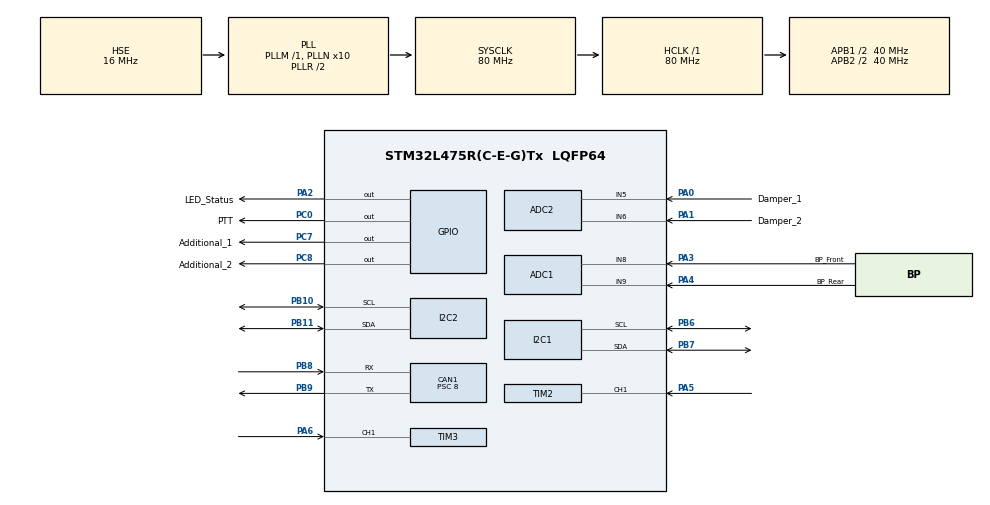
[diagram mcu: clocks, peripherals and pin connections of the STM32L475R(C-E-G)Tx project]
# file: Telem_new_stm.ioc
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ADC1.Channel-0\#ChannelRegularConversion=ADC_CHANNEL_8
ADC1.Channel-1\#ChannelRegularConversion=ADC_CHANNEL_9
ADC1.NbrOfConversion=2
ADC1.NbrOfConversionFlag=1
ADC1.OffsetNumber-0\#ChannelRegularConversion=ADC_OFFSET_NONE
ADC1.OffsetNumber-1\#ChannelRegularConversion=ADC_OFFSET_NONE
ADC1.Rank-0\#ChannelRegularConversion=1
ADC1.Rank-1\#ChannelRegularConversion=2
ADC1.SamplingTime-0\#ChannelRegularConversion=ADC_SAMPLETIME_2CYCLES_5
ADC1.SamplingTime-1\#ChannelRegularConversion=ADC_SAMPLETIME_2CYCLES_5
ADC1.master=1
ADC2.Channel-0\#ChannelRegularConversion=ADC_CHANNEL_5
ADC2.NbrOfConversionFlag=1
ADC2.OffsetNumber-0\#ChannelRegularConversion=ADC_OFFSET_NONE
ADC2.Rank-0\#ChannelRegularConversion=1
ADC2.SamplingTime-0\#ChannelRegularConversion=ADC_SAMPLETIME_2CYCLES_5
CAN1.BS1=CAN_BS1_3TQ
CAN1.CalculateBaudRate=1000000
CAN1.CalculateTimeBit=1000
CAN1.CalculateTimeQuantum=200.0
CAN1.Prescaler=8
I2C1.Timing=0x00909BEB
I2C2.Timing=0x00909BEB
Mcu.Family=STM32L4
Mcu.Name=STM32L475R(C-E-G)Tx
Mcu.Package=LQFP64
NVIC.CAN1_RX0_IRQn=true\:0\:0\:false\:false\:true\:true\:true\:true
NVIC.PriorityGroup=NVIC_PRIORITYGROUP_4
NVIC.TIM2_IRQn=true\:0\:0\:false\:false\:true\:true\:true\:true
NVIC.TIM3_IRQn=true\:0\:0\:false\:false\:true\:true\:true\:true
PA0.GPIO_Label=Damper_1
PA0.Signal=ADCx_IN5
PA1.GPIO_Label=Damper_2
PA1.Signal=ADCx_IN6
PA2.GPIO_Label=LED_Status
PA2.Signal=GPIO_Output
PA3.GPIO_Label=BP_Front
PA3.Signal=ADCx_IN8
PA4.GPIO_Label=BP_Rear
PA4.Signal=ADCx_IN9
PA5.GPIO_PuPd=GPIO_PULLDOWN
PA5.GPIO_Speed=GPIO_SPEED_FREQ_HIGH
PA5.Signal=S_TIM2_CH1
PA6.GPIO_PuPd=GPIO_PULLDOWN
PA6.GPIO_Speed=GPIO_SPEED_FREQ_HIGH
PA6.Signal=S_TIM3_CH1
PB10.Mode=I2C
PB10.Signal=I2C2_SCL
PB11.Mode=I2C
PB11.Signal=I2C2_SDA
PB6.Mode=I2C
PB6.Signal=I2C1_SCL
PB7.Mode=I2C
PB7.Signal=I2C1_SDA
PB8.Mode=CAN_Activate
PB8.Signal=CAN1_RX
PB9.Mode=CAN_Activate
PB9.Signal=CAN1_TX
PC0.GPIO_Label=PTT
PC0.Signal=GPIO_Output
PC7.GPIO_Label=Additional_1
PC7.Signal=GPIO_Output
PC8.GPIO_Label=Additional_2
PC8.Signal=GPIO_Output
PH0-OSC_IN\ (PH0).Mode=HSE-External-Oscillator
PH0-OSC_IN\ (PH0).Signal=RCC_OSC_IN
PH1-OSC_OUT\ (PH1).Mode=HSE-External-Oscillator
PH1-OSC_OUT\ (PH1).Signal=RCC_OSC_OUT
ProjectManager.HeapSize=0x200
ProjectManager.StackSize=0x400
ProjectManager.TargetToolchain=STM32CubeIDE
RCC.ADCFreq_Value=64000000
RCC.AHBFreq_Value=80000000
RCC.APB1CLKDivider=RCC_HCLK_DIV2
RCC.APB1Freq_Value=40000000
RCC.APB1TimFreq_Value=80000000
RCC.APB2CLKDivider=RCC_HCLK_DIV2
RCC.APB2Freq_Value=40000000
RCC.APB2TimFreq_Value=80000000
RCC.CortexFreq_Value=80000000
RCC.HCLKFreq_Value=80000000
RCC.HSE_VALUE=16000000
RCC.HSI_VALUE=16000000
RCC.LSE_VALUE=32768
RCC.MSI_VALUE=4000000
RCC.PLLN=10
RCC.PLLSourceVirtual=RCC_PLLSOURCE_HSE
RCC.SYSCLKFreq_VALUE=80000000
RCC.SYSCLKSource=RCC_SYSCLKSOURCE_PLLCLK
RCC.USBFreq_Value=64000000
RCC.VCOOutputFreq_Value=160000000
SH.ADCx_IN5.0=ADC2_IN5,IN5-Single-Ended
SH.ADCx_IN6.0=ADC2_IN6,IN6-Single-Ended
SH.ADCx_IN8.0=ADC1_IN8,IN8-Single-Ended
SH.ADCx_IN9.0=ADC1_IN9,IN9-Single-Ended
SH.S_TIM2_CH1.0=TIM2_CH1,TriggerSource_TI1ED
SH.S_TIM2_CH1.1=TIM2_CH1,Input_Capture1_from_TI1
SH.S_TIM3_CH1.0=TIM3_CH1,TriggerSource_TI1ED
SH.S_TIM3_CH1.1=TIM3_CH1,Input_Capture1_from_TI1
TIM2.AutoReloadPreload=TIM_AUTORELOAD_PRELOAD_DISABLE
TIM2.Channel-Input_Capture1_from_TI1=TIM_CHANNEL_1
TIM2.ICPolarity_CH1=TIM_INPUTCHANNELPOLARITY_RISING
TIM2.Period=25000-1
TIM2.Prescaler=800-1
TIM3.Channel-Input_Capture1_from_TI1=TIM_CHANNEL_1
TIM3.ICFilter_CH1=0
TIM3.Period=25000-1
TIM3.Prescaler=800-1
VP_TIM2_VS_ClockSourceINT.Mode=Internal
VP_TIM2_VS_ControllerModeReset.Mode=Reset Mode
VP_TIM3_VS_ClockSourceINT.Mode=Internal
VP_TIM3_VS_ControllerModeReset.Mode=Reset Mode
board=custom

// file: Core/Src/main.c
/* USER CODE BEGIN Header */
/**
  ******************************************************************************
  * @file           : main.c
  * @brief          : Main program body
  ******************************************************************************
  * @attention
  *
  * Copyright (c) 2022 STMicroelectronics.
  * All rights reserved.
  *
  * This software is licensed under terms that can be found in the LICENSE file
  * in the root directory of this software component.
  * If no LICENSE file comes with this software, it is provided AS-IS.
  *
  ******************************************************************************
  */
/* USER CODE END Header */
#include "main.h"
#include "adc.h"
#include "can.h"
#include "i2c.h"
#include "tim.h"
#include "gpio.h"

/* USER CODE BEGIN Includes */
#include <abs.h>
#include <amorki.h>
#include <break_pressure.h>
#include <can_handler.h>
#include "PTT_handler.h"
/* USER CODE END Includes */

/* USER CODE BEGIN PV */

// BREAK PRESSURE
float pressure[2]; //Pressure [bar]
uint16_t break_press[2]; //Analog value

// VSS
float wheel_speed[2];

//AMORKI
float displacement[2]; //move [mm]
uint16_t damper[2];	//Analog value

// PTT
int16_t transmission_check=3000; // is button still pressed

/* USER CODE END PV */

void SystemClock_Config(void);
void PeriphCommonClock_Config(void);

int main(void)
{

  /* MCU Configuration--------------------------------------------------------*/

  /* Reset of all peripherals, Initializes the Flash interface and the Systick. */
  HAL_Init();

  /* Configure the system clock */
  SystemClock_Config();

/* Configure the peripherals common clocks */
  PeriphCommonClock_Config();

  /* Initialize all configured peripherals */
  MX_GPIO_Init();
  MX_ADC1_Init();
  MX_TIM2_Init();
  MX_TIM3_Init();
  MX_CAN1_Init();
  MX_ADC2_Init();
  MX_I2C1_Init();
  MX_I2C2_Init();
  /* USER CODE BEGIN 2 */

  absInit(&absRRSensor, 0x01, &htim2, TIM_CHANNEL_1); // RIGHT REAR
  absInit(&absLRSensor, 0x02, &htim3, TIM_CHANNEL_1); // LEFT REAR

 // HAL_ADC_Start(&hadc1);
  /* USER CODE END 2 */

  /* Infinite loop */
  while (1)
  {

    /* USER CODE BEGIN 3 */

	  //LED STATUS
	HAL_GPIO_WritePin(LED_Status_GPIO_Port, LED_Status_Pin, 1);

	  //BREAK PREASSURE
	BP_GetData(&hadc1,break_press);
	for(int i=0;i<2;i++)
	{
	pressure[i]=BPCalculate(break_press[i]);
	}

	  //ABS
	if(flag==0x01)
	{
		wheel_speed[0]=absCalculate(absLRSensor.data);
	}
	else if(flag==0x02)
	{
		wheel_speed[1]=absCalculate(absRRSensor.data);
	}

	//AMORKI
	Amorki_GetData(&hadc2, damper);
	for(int i=0;i<2;i++)
	{
	displacement[i]=AmorkiCalculate(damper[i]);
	}

	//PTT
	if(PTT_status)				//ACTIVE
	{
		HAL_GPIO_WritePin(PTT_GPIO_Port, PTT_Pin, 1);
		//transmission_check=3000;
	}
	else						//DEACTIVE
		HAL_GPIO_WritePin(PTT_GPIO_Port, PTT_Pin, 0);

/*

	if(transmission_check<0)	//RESET
	{
		PTT_status=0;
	}
*/

  }
  /* USER CODE END 3 */
}

void SystemClock_Config(void)
{
  RCC_OscInitTypeDef RCC_OscInitStruct = {0};
  RCC_ClkInitTypeDef RCC_ClkInitStruct = {0};

  /** Configure the main internal regulator output voltage
  */
  if (HAL_PWREx_ControlVoltageScaling(PWR_REGULATOR_VOLTAGE_SCALE1) != HAL_OK)
  {
    Error_Handler();
  }

  /** Initializes the RCC Oscillators according to the specified parameters
  * in the RCC_OscInitTypeDef structure.
  */
  RCC_OscInitStruct.OscillatorType = RCC_OSCILLATORTYPE_HSE;
  RCC_OscInitStruct.HSEState = RCC_HSE_ON;
  RCC_OscInitStruct.PLL.PLLState = RCC_PLL_ON;
  RCC_OscInitStruct.PLL.PLLSource = RCC_PLLSOURCE_HSE;
  RCC_OscInitStruct.PLL.PLLM = 1;
  RCC_OscInitStruct.PLL.PLLN = 10;
  RCC_OscInitStruct.PLL.PLLP = RCC_PLLP_DIV7;
  RCC_OscInitStruct.PLL.PLLQ = RCC_PLLQ_DIV2;
  RCC_OscInitStruct.PLL.PLLR = RCC_PLLR_DIV2;
  if (HAL_RCC_OscConfig(&RCC_OscInitStruct) != HAL_OK)
  {
    Error_Handler();
  }

  /** Initializes the CPU, AHB and APB buses clocks
  */
  RCC_ClkInitStruct.ClockType = RCC_CLOCKTYPE_HCLK|RCC_CLOCKTYPE_SYSCLK
                              |RCC_CLOCKTYPE_PCLK1|RCC_CLOCKTYPE_PCLK2;
  RCC_ClkInitStruct.SYSCLKSource = RCC_SYSCLKSOURCE_PLLCLK;
  RCC_ClkInitStruct.AHBCLKDivider = RCC_SYSCLK_DIV1;
  RCC_ClkInitStruct.APB1CLKDivider = RCC_HCLK_DIV2;
  RCC_ClkInitStruct.APB2CLKDivider = RCC_HCLK_DIV2;

  if (HAL_RCC_ClockConfig(&RCC_ClkInitStruct, FLASH_LATENCY_4) != HAL_OK)
  {
    Error_Handler();
  }
}

void PeriphCommonClock_Config(void)
{
  RCC_PeriphCLKInitTypeDef PeriphClkInit = {0};

  /** Initializes the peripherals clock
  */
  PeriphClkInit.PeriphClockSelection = RCC_PERIPHCLK_ADC;
  PeriphClkInit.AdcClockSelection = RCC_ADCCLKSOURCE_PLLSAI1;
  PeriphClkInit.PLLSAI1.PLLSAI1Source = RCC_PLLSOURCE_HSE;
  PeriphClkInit.PLLSAI1.PLLSAI1M = 1;
  PeriphClkInit.PLLSAI1.PLLSAI1N = 8;
  PeriphClkInit.PLLSAI1.PLLSAI1P = RCC_PLLP_DIV7;
  PeriphClkInit.PLLSAI1.PLLSAI1Q = RCC_PLLQ_DIV2;
  PeriphClkInit.PLLSAI1.PLLSAI1R = RCC_PLLR_DIV2;
  PeriphClkInit.PLLSAI1.PLLSAI1ClockOut = RCC_PLLSAI1_ADC1CLK;
  if (HAL_RCCEx_PeriphCLKConfig(&PeriphClkInit) != HAL_OK)
  {
    Error_Handler();
  }
}

void Error_Handler(void)
{
  __disable_irq();
  while (1)
  {
  }
}
